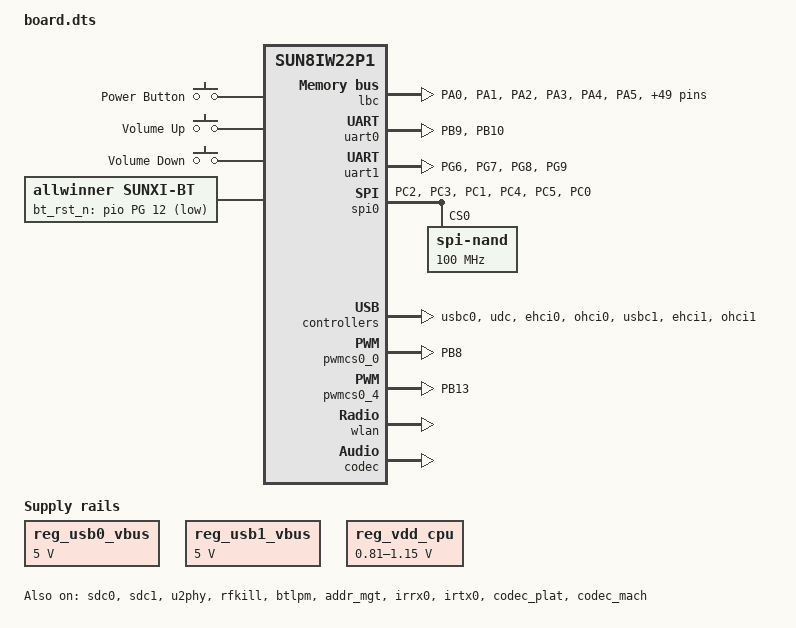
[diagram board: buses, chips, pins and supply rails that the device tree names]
// SPDX-License-Identifier: (GPL-2.0+ or MIT)

/dts-v1/;

#include "sun8iw22p1.dtsi"
#include <dt-bindings/input/input.h>

/{
	board = "t153", "t153-demo";
	compatible = "allwinner,t153", "arm,sun8iw22p1";
	aliases {
	};

	reg_usb0_vbus: usb0-vbus {
		compatible = "regulator-fixed";
		regulator-name = "usb0-vbus";
		regulator-min-microvolt = <5000000>;
		regulator-max-microvolt = <5000000>;
		regulator-enable-ramp-delay = <1000>;
		enable-active-high;
	};

	reg_usb1_vbus: usb1-vbus {
		compatible = "regulator-fixed";
		regulator-name = "usb1-vbus";
		regulator-min-microvolt = <5000000>;
		regulator-max-microvolt = <5000000>;
		regulator-enable-ramp-delay = <1000>;
		enable-active-high;
	};

	reg_vdd_cpu: reg_vdd_cpu {
		compatible = "sunxi-pwm-regulator";
		pwms = <&pwmcs0 4 5000 1>;
		regulator-name = "vdd_cpu";
		regulator-min-microvolt = <810000>;
		regulator-max-microvolt = <1150000>;
		regulator-settling-time-us = <4000>;
		regulator-always-on;
		regulator-boot-on;
		status = "okay";
	};

	reserved-memory {
		rv_sram_reserved: riscvsram0@40000 {
			reg = <0x0 0x00040000 0x0 0x0002BFFF>;
			no-map;
			sleep-data-loss;
		};

		e907_mem_fw: e907_mem_fw@44000000 {
			/* boot0 & uboot0 load elf addr */
			reg = <0x0 0x44000000 0x0 0x00200000>;
		};

		/*
			* The name should be "vdev%dbuffer".
			* Its size should be not less than
			*     RPMSG_BUF_SIZE * (num of buffers in a vring) * 2
			*   = 512 * (num of buffers in a vring) * 2
			*/
		rv_vdev0buffer: vdev0buffer@42100000 {
			compatible = "shared-dma-pool";
			reg = <0x0 0x42100000 0x0 0x40000>;
			no-map;
		};

		/*
			* The name should be "vdev%dvring%d".
			* The size of each should be not less than
			*     PAGE_ALIGN(vring_size(num, align))
			*   = PAGE_ALIGN(16 * num + 6 + 2 * num + (pads for align) + 6 + 8 * num)
			*
			* (Please refer to the vring layout in include/uapi/linux/virtio_ring.h)
			*/
		rv_vdev0vring0: vdev0vring0@42140000 {
			reg = <0x0 0x42140000 0x0 0x2000>;
			no-map;
		};
		rv_vdev0vring1: vdev0vring1@42142000 {
			reg = <0x0 0x42142000 0x0 0x2000>;
			no-map;
		};

		e907_rpbuf_reserved: e907_rpbuf@42144000 {
			compatible = "shared-dma-pool";
			no-map;
			reg = <0x0 0x42144000 0x0 0x80000>;
		};

		e907_share_irq_table: share_irq_table@421c4000 {
			reg = <0x0 0x421c4000 0x0 0x1000>;
			no-map;
		};

		e907_dram_reserved: e907_dram@421c5000 {
			reg = <0x0 0x421c5000 0x0 0x00300000>;
			no-map;
		};
	};

	rpbuf_controller0: rpbuf_controller@0 {
			compatible = "allwinner,rpbuf-controller";
			remoteproc = <&e907_rproc>;
			ctrl_id = <0>;
			memory-region = <&e907_rpbuf_reserved>;
			status = "okay";
	};

	backlight0: backlight0 {
		compatible = "pwm-backlight";
		status = "disabled";
		brightness-levels = <
			0   1   2   3   4   5   6   7
			8   9   10  11  12  13  14  15
			16  17  18  19  20  21  22  23
			24  25  26  27  28  29  30  31
			32  33  34  35  36  37  38  39
			40  41  42  43  44  45  46  47
			48  49  50  51  52  53  54  55
			56  57  58  59  60  61  62  63
			64  65  66  67  68  69  70  71
			72  73  74  75  76  77  78  79
			80  81  82  83  84  85  86  87
			88  89  90  91  92  93  94  95
			96  97  98  99  100 101 102 103
			104 105 106 107 108 109 110 111
			112 113 114 115 116 117 118 119
			120 121 122 123 124 125 126 127
			128 129 130 131 132 133 134 135
			136 137 138 139 140 141 142 143
			144 145 146 147 148 149 150 151
			152 153 154 155 156 157 158 159
			160 161 162 163 164 165 166 167
			168 169 170 171 172 173 174 175
			176 177 178 179 180 181 182 183
			184 185 186 187 188 189 190 191
			192 193 194 195 196 197 198 199
			200 201 202 203 204 205 206 207
			208 209 210 211 212 213 214 215
			216 217 218 219 220 221 222 223
			224 225 226 227 228 229 230 231
			232 233 234 235 236 237 238 239
			240 241 242 243 244 245 246 247
			248 249 250 251 252 253 254 255>;
		default-brightness-level = <150>;
		enable-gpios = <&pio PB 14 GPIO_ACTIVE_HIGH>;
		pwms = <&pwmcs0 0 25000 0>;
	};

	lvds_panel: lvds_panel@0 {
		compatible = "sunxi-lvds";
		status = "disabled";
		backlight = <&backlight0>;
		bus-format = <MEDIA_BUS_FMT_RGB888_1X7X4_SPWG>;
		display-timings {
			native-mode = <&lvds0_timing0>;
			lvds0_timing0: timing0 {
				clock-frequency = <51448320>;
				hback-porch = <100>;
				hactive = <1024>;
				hfront-porch = <160>;
				hsync-len = <60>;
				vback-porch = <13>;
				vactive = <600>;
				vfront-porch = <15>;
				vsync-len = <10>;
			};
		};
		port {
			lvds_panel_in: endpoint {
				remote-endpoint = <&lvds_panel_out>;
			};
		};
	};

	panel_0: panel_0@0 {
		compatible = "allwinner,panel-dsi";
		status = "disabled";
		enable-delay-ms = <10>;
		reset-gpios = <&pio PD 21 GPIO_ACTIVE_HIGH>;
		reset-on-sequence = <1 10>, <0 20>, <1 100>;
		reset-off-sequence = <0 100>;
		backlight = <&backlight0>;
		dsi,flags = <(MIPI_DSI_MODE_VIDEO | MIPI_DSI_ASYNC_INCELL)>;
		dsi,lanes = <4>;
		dsi,format = <0>;
		panel-init-sequence = [
			05 78 01 11
			05 14 01 29
		];
		panel-exit-sequence = [
			05 00 01 28
			05 78 01 10
		];

		display-timings {
			native-mode = <&timing0>;
			timing0: timing0 {
				clock-frequency = <156408000>;
				hback-porch = <40>;
				hactive = <1200>;
				hfront-porch = <80>;
				hsync-len = <10>;
				vback-porch = <16>;
				vactive = <1920>;
				vfront-porch = <20>;
				vsync-len = <4>;
			};
		};
		port {
			#address-cells = <1>;
			#size-cells = <0>;
			panel0_in: endpoint@0 {
				reg = <0>;
				remote-endpoint = <&panel_output_0>;
			};
		};
	};

	rgb_panel0: rgb_panel@1 {
		compatible = "sunxi-rgb";
		status = "disabled";
		reg = <0>;
		backlight = <&backlight0>;
		display-timings {
			native-mode = <&rgb0_timing0>;
			rgb0_timing0: timing0 {
				clock-frequency = <29232000>;
				hback-porch = <40>;
				hactive = <800>;
				hfront-porch = <40>;
				hsync-len = <48>;
				vback-porch = <29>;
				vactive = <480>;
				vfront-porch = <13>;
				vsync-len = <3>;
			};
		};
		port {
			rgb0_panel_in: endpoint {
				remote-endpoint = <&rgb0_panel_out>;
			};
		};
	};

	can0 {
		compatible = "allwinner,sun8i-t153-can";
		reg = <0x0 0x0453C800 0x0 0x400>,
			<0x0 0x04538000 0x0 0x4400>,
			<0x0 0x04530000 0x0 0x1000>,
			<0x0 0x04534000 0x0 0x1000>;
		reg-names = "can", "message_ram", "can_top", "can_dma";
		interrupts = <GIC_SPI 36 IRQ_TYPE_LEVEL_HIGH>, <GIC_SPI 35 IRQ_TYPE_LEVEL_HIGH>, <GIC_SPI 37 IRQ_TYPE_LEVEL_HIGH>;
		interrupt-names = "int0", "int_top", "int1";
		clocks = <&ccu CLK_CAN0>, <&ccu CLK_BUS_CAN0>, <&ccu CLK_MBUS_CAN_GATE>;
		clock-names = "can_clk", "can_bus", "can_mbus";
		resets = <&ccu RST_BUS_CAN0>, <&ccu RST_BUS_CAN_SYS>;
		reset-names = "can_rst", "can_sys_rst";
		clock-frequency = <40000000>;
		allwinner,ram-cfg = <0x0 0 0 64 64 64 32 32>;
		pinctrl-0 = <&can0_pins_active>;
		pinctrl-1 = <&can0_pins_sleep>;
		pinctrl-names = "default", "sleep";
		status = "disabled";
	};

	can1 {
		compatible = "allwinner,sun8i-t153-can";
		reg = <0x0 0x04541800 0x0 0x400>,
				<0x0 0x0453D000 0x0 0x4400>,
				<0x0 0x04531000 0x0 0x1000>,
				<0x0 0x04535000 0x0 0x1000>;
		reg-names = "can", "message_ram", "can_top", "can_dma";
		interrupts = <GIC_SPI 144 IRQ_TYPE_LEVEL_HIGH>, <GIC_SPI 146 IRQ_TYPE_LEVEL_HIGH>, <GIC_SPI 145 IRQ_TYPE_LEVEL_HIGH>;
		interrupt-names = "int0", "int_top", "int1";
		clocks = <&ccu CLK_CAN1>, <&ccu CLK_BUS_CAN1>, <&ccu CLK_MBUS_CAN_GATE>;
		clock-names = "can_clk", "can_bus", "can_mbus";
		resets = <&ccu RST_BUS_CAN1>, <&ccu RST_BUS_CAN_SYS>;
		reset-names = "can_rst", "can_sys_rst";
		clock-frequency = <40000000>;
		allwinner,ram-cfg = <0x0 0 0 64 64 64 32 32>;
		pinctrl-0 = <&can1_pins_active>;
		pinctrl-1 = <&can1_pins_sleep>;
		pinctrl-names = "default", "sleep";
		status = "disabled";
	};

	// lbc1
	lbc_timing0: timing-set@0 {
		reg = <0>;
		lbc,timing-flag = <0>;	// 0: need to calc, 1: raw(need to set final time val)

		lbc,cle-cycle-num = <1>;
		lbc,ale-cycle-num = <1>;
		lbc,dat-cycle-num = <1>;

		lbc,addr-mux-type = <2>;	// 00: non mux, 01: ad mux, 10: aad mux
		lbc,lbc-protocol  = <1>;	// 00: lbc mode0, 01: lbc mode1, 10: lbc mode2
		lbc,bus-endian	  = <1>;		// 0: big endian, 1: little endian
		lbc,transfer-width = <1>; // 00: 8bit, 01: 16bit, 10: 32bite
		lbc,bus-addr-offset = <0>;	// 0: disable; 1: enable
		lbc,rd-sync-type = <1>;		// 0: async>; 1 sync
		lbc,wr-sync-type = <1>;		// 0: async>; 1 sync

		lbc,clk-divider = <0>;	// 00: fclk/1, 01: fclk/2, 10: fclk/4, 11: fclk/8
		lbc,clk-delay-time = <0>;

		lbc,ready-timeout-time = <0xc1>;
		lbc,rd-ready-en = <1>;
		lbc,wr-ready-en = <0>;
		lbc,ready-delay-time = <0>;
		lbc,rd-ready-mode = <1>;
		lbc,wr-ready-mode = <0>;
		lbc,ready-polarity = <1>;

		lbc,dp-mode = <0>;	// 0: DP per byte, 1: one DP only
		lbc,dp-parity = <1>;	// 0: odd parity, 1: even parity
		lbc,dp-en = <1>;		// 0: disable, 1: enable

		lbc,be-parity-en = <0>;
		lbc,de-polarity = <1>;
		lbc,be-polarity = <1>;

		lbc,wait-timeout-time = <0x400>;
		lbc,wait-polarity = <1>;
		lbc,wait-en = <0>;

		lbc,cs-polarity = <0>;
		lbc,ale-polarity = <1>;
		lbc,we-polarity = <1>;
		lbc,oe-polarity = <0>;
		lbc,cle-mode = <1>;
		lbc,cle-polarity = <1>;
	};

	// lbc2 (ad7616)
	lbc_timing1: timing-set@1 {
		reg = <1>;
		lbc,timing-flag = <1>;	// 0: need to calc, 1: raw(need to set final time val)

		lbc,cle-cycle-num = <1>;
		lbc,ale-cycle-num = <1>;
		lbc,dat-cycle-num = <1>;

		lbc,addr-mux-type = <0>;	// 00: non mux, 01: ad mux, 10: aad mux
		lbc,lbc-protocol  = <2>;	// 00: lbc mode0, 01: lbc mode1, 10: lbc mode2
		lbc,bus-endian	  = <1>;		// 0: big endian, 1: little endian
		lbc,transfer-width = <1>; // 00: 8bit, 01: 16bit, 10: 32bite
		lbc,bus-addr-offset = <0>;	// 0: disable; 1: enable
		lbc,rd-sync-type = <0>;		// 0: async>; 1 sync
		lbc,wr-sync-type = <0>;		// 0: async>; 1 sync

		lbc,clk-divider = <0>;	// 00: fclk/1, 01: fclk/2, 10: fclk/4, 11: fclk/8
		lbc,clk-delay-time = <0>;

		lbc,ready-timeout-time = <0xc1>;
		lbc,rd-ready-en = <0>;
		lbc,wr-ready-en = <0>;
		lbc,ready-delay-time = <0>;
		lbc,rd-ready-mode = <1>;
		lbc,wr-ready-mode = <0>;
		lbc,ready-polarity = <1>;

		lbc,dp-mode = <0>;	// 0: DP per byte, 1: one DP only
		lbc,dp-parity = <1>;	// 0: odd parity, 1: even parity
		lbc,dp-en = <1>;		// 0: disable, 1: enable

		lbc,be-parity-en = <0>;
		lbc,de-polarity = <1>;
		lbc,be-polarity = <1>;

		lbc,wait-timeout-time = <0x400>;
		lbc,wait-polarity = <1>;
		lbc,wait-en = <0>;

		lbc,cs-polarity = <0>;
		lbc,ale-polarity = <1>;

		lbc,we-page-en = <1>;
		lbc,we-polarity = <0>;

		lbc,oe-page-en = <1>;
		lbc,oe-polarity = <0>;
		lbc,cle-mode = <1>;
		lbc,cle-polarity = <1>;

		// raw timing with ns
		lbc,cs-on-time-ns = <0>;
		lbc,cs-rdoff-time-ns = <110>;
		lbc,cs-wroff-time-ns = <110>;

		lbc,ale-on-time-ns = <0>;
		lbc,ale-rdoff-time-ns = <110>;
		lbc,ale-wroff-time-ns = <110>;

		lbc,ale-aad-rdoff-time-ns = <0>;
		lbc,ale-aad-wroff-time-ns = <0>;
		lbc,ale-aad-on-time-ns = <0>;

		lbc,we-on-time-ns = <65>;
		lbc,we-off-time-ns = <95>;
		lbc,we-page-time-ns = <95>;

		lbc,oe-off-time-ns = <95>;
		lbc,oe-on-time-ns = <65>;
		lbc,oe-page-time-ns = <95>;

		lbc,oe-aad-off-time-ns = <0>;
		lbc,oe-aad-on-time-ns = <0>;

		lbc,rd-cycle-time-ns = <110>;
		lbc,wr-cycle-time-ns = <110>;

		lbc,rd-access-time-ns = <95>;
		lbc,wr-access-time-ns = <0>;

		lbc,page-access-time-ns = <0>;
		lbc,wr-data-on-time-ns = <65>;
		lbc,cle-off-time-ns = <0>;
		lbc,cle-on-time-ns = <0>;

		lbc,turnaround-time = <0x20>;
	};


	lbc: lbc-controller@2810000 {
		compatible = "allwinner,sunxi-lbc";
		interrupts = <GIC_SPI 48 IRQ_TYPE_LEVEL_HIGH>;
		clocks = <&ccu CLK_PLL_PERI0_400M>, <&ccu CLK_MBUS_BUS_LBC_SW_CFG>, <&ccu CLK_BUS_LBC_AHB>, <&ccu CLK_LBC>;
		clock-names = "lbc_pll", "lbc_mbus_sw_cfg", "bus_lbc", "lbc";
		resets = <&ccu RST_BUS_LBC>;
		reset-names = "lbc_rst";

		pinctrl-names = "default", "sleep";
		//pinctrl-0 = <&lbc_pins_active0 &lbc_pins_active1>;
		pinctrl-0 = <&lbc_pins_a>;
		pinctrl-1 = <&lbc_pins_b>;

		//lbc-io-supply = <&reg_bldo3>;
		//lbc-io-vol = <1800000>;


		ranges;
		lbc_slave {
			#address-cells = <2>;
			#size-cells = <2>;

			status = "disabled";
			slave-reset-gpio = <&pio PK 8 GPIO_ACTIVE_LOW>;

			clock-frequency = <100000000>;
			reg = <0x0 0x02810000 0x0 0x1000>,
				 // cs0
				<0x0 0xc0004000 0x0 0x80>,
				<0x0 0xc0004000 0x0 0x80>,
				<0x0 0xc0004000 0x0 0x80>,
				 // cs1
				<0x0 0xd0004000 0x0 0x80>,
				<0x0 0xd0004000 0x0 0x80>,
				<0x0 0xd0004000 0x0 0x80>,
				 // cs2
				<0x0 0xe0004000 0x0 0x80>,
				<0x0 0xe0004000 0x0 0x80>,
				<0x0 0xe0004000 0x0 0x80>,
				 // cs3
				<0x0 0xf0004000 0x0 0x80>,
				<0x0 0xf0004000 0x0 0x80>,
				<0x0 0xf0004000 0x0 0x80>;
			reg-names = "reg_addr",
						"cs0_da_wr_addr", "cs0_ida_wr_addr", "cs0_dma_wr_addr",
						"cs1_da_wr_addr", "cs1_ida_wr_addr", "cs1_dma_wr_addr",
						"cs2_da_wr_addr", "cs2_ida_wr_addr", "cs2_dma_wr_addr",
						"cs3_da_wr_addr", "cs3_ida_wr_addr", "cs3_dma_wr_addr";

			sunxi,cs-timing = <&lbc_timing0 &lbc_timing0 &lbc_timing0 &lbc_timing0>;

			da_cfg {
				lbc,da_burst_sel = <0 0 0 0>;
				lbc,da_burst_type = <1 1 1 1>;
				lbc,da_burst_length = <0 0 0 0>;
			};

			ida_cfg {
				lbc,ida_burst_arb_grain = <3>;
				lbc,ida_burst_type = <1>;
				lbc,ida_burst_length = <0>;
			};

			dma_cfg {
				lbc,dma_burst_arb_grain = <2>;
				lbc,dma_burst_type = <1>;
				lbc,dma_burst_length = <63>;
			};
		};

		ad7616_slave {
			#address-cells = <2>;
			#size-cells = <2>;

			status = "disabled";
			slave-reset-gpio = <&pio PK 8 GPIO_ACTIVE_LOW>;
			convst-gpio = <&pio PA 3 GPIO_ACTIVE_LOW>;

			clock-frequency = <200000000>;
			reg = <0x0 0x02810000 0x0 0x1000>,
				 // cs0
				<0x0 0xc0000000 0x0 0xa0>,
				<0x0 0xc0000000 0x0 0xa0>,
				<0x0 0xc0000000 0x0 0xa0>,
				 // cs1
				<0x0 0xd0000000 0x0 0xa0>,
				<0x0 0xd0000000 0x0 0xa0>,
				<0x0 0xd0000000 0x0 0xa0>,
				 // cs2
				<0x0 0xe0000000 0x0 0xa0>,
				<0x0 0xe0000000 0x0 0xa0>,
				<0x0 0xe0000000 0x0 0xa0>,
				 // cs3
				<0x0 0xf0000000 0x0 0xa0>,
				<0x0 0xf0000000 0x0 0xa0>,
				<0x0 0xf0000000 0x0 0xa0>;
			reg-names = "reg_addr",
						"cs0_da_wr_addr", "cs0_ida_wr_addr", "cs0_dma_wr_addr",
						"cs1_da_wr_addr", "cs1_ida_wr_addr", "cs1_dma_wr_addr",
						"cs2_da_wr_addr", "cs2_ida_wr_addr", "cs2_dma_wr_addr",
						"cs3_da_wr_addr", "cs3_ida_wr_addr", "cs3_dma_wr_addr";

			sunxi,cs-timing = <&lbc_timing1 &lbc_timing1 &lbc_timing1 &lbc_timing1>;

			da_cfg {
				lbc,da_burst_sel = <0 0 0 0>;
				lbc,da_burst_type = <1 1 1 1>;
				lbc,da_burst_length = <0 0 0 0>;
			};

			dma_cfg {
				lbc,dma_burst_arb_grain = <2>;
				lbc,dma_burst_type = <1>;
				lbc,dma_burst_length = <0>;
			};
		};
	};
};

&pio {
	uart0_pins_active: uart0_pins@0 {
		pins = "PB9", "PB10";
		function = "uart0";
	};

	uart0_pins_sleep: uart0_pins@1 {
		pins = "PB9", "PB10";
		function = "io_disabled";
	};

	uart1_pins_active: uart1_pins@0 {
		pins = "PG6", "PG7", "PG8", "PG9";
		function = "uart1";
		drive-strength = <10>;
		bias-pull-up;
	};

	uart1_pins_sleep: uart1_pins@1 {
		pins = "PG6", "PG7", "PG8", "PG9";
		function = "gpio_in";
	};

	uart2_pins_active: uart2_pins@0 {
		pins = "PD2", "PD3", "PD1", "PD0";
		function = "uart2";
	};

	uart2_pins_sleep: uart2_pins@1 {
		pins = "PD2", "PD3", "PD1", "PD0";
		function = "io_disabled";
	};

	uart3_pins_active: uart3_pins@0 {
		pins = "PD14", "PD15", "PD16", "PD17";
		function = "uart3";
	};

	uart3_pins_sleep: uart3_pins@1 {
		pins = "PD14", "PD15", "PD16", "PD17";
		function = "io_disabled";
	};

	uart4_pins_active: uart4_pins@0 {
		pins = "PD6", "PD7", "PD5", "PD4";
		function = "uart4";
	};

	uart4_pins_sleep: uart4_pins@1 {
		pins = "PD6", "PD7", "PD5", "PD4";
		function = "io_disabled";
	};

	uart5_pins_active: uart5_pins@0 {
		pins = "PC9", "PC10", "PC11", "PC8";
		function = "uart5";
	};

	uart5_pins_sleep: uart5_pins@1 {
		pins = "PC9", "PC10", "PC11", "PC8";
		function = "io_disabled";
	};

	uart6_pins_active: uart6_pins@0 {
		pins = "PA14", "PA15", "PE5", "PE6";
		function = "uart6";
	};

	uart6_pins_sleep: uart6_pins@1 {
		pins = "PA14", "PA15", "PE5", "PE6";
		function = "io_disabled";
	};

	uart7_pins_active: uart7_pins@0 {
		pins = "PB13", "PB14", "PB11", "PB12";
		function = "uart7";
	};

	uart7_pins_sleep: uart7_pins@1 {
		pins = "PB13", "PB14", "PB11", "PB12";
		function = "io_disabled";
	};

	uart8_pins_active: uart8_pins@0 {
		pins = "PD10", "PD11", "PD12", "PD13";
		function = "uart8";
	};

	uart8_pins_sleep: uart8_pins@1 {
		pins = "PD10", "PD11", "PD12", "PD13";
		function = "io_disabled";
	};

	uart9_pins_active: uart9_pins@0 {
		pins = "PD0", "PD1", "PD2", "PD3";
		function = "uart9";
	};

	uart9_pins_sleep: uart9_pins@1 {
		pins = "PD0", "PD1", "PD2", "PD3";
		function = "io_disabled";
	};

	can0_pins_active: can0_pins@0{
		pins = "PC6", "PC7";
		function = "can0";
		drive-strength = <20>;
	};

	can0_pins_sleep: can0_pins@1{
		pins = "PC6", "PC7";
		function = "io_disabled";
		bias-disable;
	};

	can1_pins_active: can1_pins@0{
		pins = "PB7", "PB8";
		function = "can1";
		drive-strength = <20>;
	};

	can1_pins_sleep: can1_pins@1{
		pins = "PB7", "PB8";
		function = "io_disabled";
		bias-disable;
	};

	spi0_pins_default: spi0@0 {
		pins = "PC2", "PC3"; /* mosi, miso */
		function = "spi0";
		drive-strength = <20>;
	};

	spi0_pins_cs: spi0@1 {
		pins = "PC1", "PC4", "PC5"; /* cs, wp, hold */
		function = "spi0";
		drive-strength = <20>;
		bias-pull-up;
	};

	spi0_pins_clk: spi0@2 {
		pins = "PC0"; /* clk */
		function = "spi0";
		drive-strength = <40>;
	};

	spi0_pins_sleep: spi0@3 {
		pins = "PC0", "PC1", "PC2", "PC3", "PC4", "PC5";
		function = "gpio_in";
		drive-strength = <10>;
	};

	spi3_pins_default: spi3@0 {
		pins = "PB1", "PB2", "PB3"; /* clk, mosi, miso */
		function = "spi3";
		drive-strength = <10>;
	};

	spi3_pins_cs: spi3@1 {
		pins = "PB0"; /* cs, wp, hold */
		function = "spi3";
		drive-strength = <10>;
		bias-pull-up;
	};

	spi3_pins_sleep: spi3@2 {
		pins = "PB0", "PB1", "PB2", "PB3";
		function = "gpio_in";
		drive-strength = <10>;
	};

	twi2_pins_default: twi2@0 {
		pins = "PB2", "PB3";
		function = "twi2";
		drive-strength = <10>;
		bias-pull-up;
	};

	twi2_pins_sleep: twi2@1 {
		pins = "PB2", "PB3";
		function = "gpio_in";
	};

	twi4_pins_default: twi4@0 {
		pins = "PB13", "PB14";
		function = "twi4";
		drive-strength = <10>;
		bias-pull-up;
	};

	twi4_pins_sleep: twi4@1 {
		pins = "PB13", "PB14";
		function = "gpio_in";
	};

	pwmcs0_0_pins_active: pwmcs0_0@0 {
		pins = "PB8";
		function = "pwm0_0";
		drive-strength = <20>;
	};

	pwmcs0_0_pins_sleep: pwmcs0_0@1 {
		pins = "PB8";
		function = "gpio_in";
		bias-pull-down;
	};

	pwmcs0_4_pins_active: pwmcs0_4@0 {
		pins = "PB13";
		function = "pwm0_4";
		drive-strength = <20>;
	};

	pwmcs0_4_pins_sleep: pwmcs0_4@1 {
		pins = "PB13";
		function = "gpio_in";
		bias-pull-down;
	};

	gpadc0_pins_default: gpadc0@0 {
		pins = "PA4", "PA5", "PA6", "PA7", "PA8", "PA9", "PA10", "PA11", "PA12", "PA13";
		function = "gpadc0";
	};

	gpadc0_pins_sleep: gpadc0@1 {
		pins = "PA4", "PA5", "PA6", "PA7", "PA8", "PA9", "PA10", "PA11", "PA12", "PA13";
		function = "gpio_in";
	};

	gpadc1_pins_default: gpadc1@0 {
		pins = "PA14","PA15";
		function = "gpadc1";
	};

	gpadc1_pins_sleep: gpadc1@1 {
		pins = "PA14", "PA15";
		function = "gpio_in";
	};

	irrx0_pins_default: irrx0@0 {
		pins = "PJ12";
		function = "ir0";
	};

	irrx0_pins_sleep: irrx0@1 {
		pins = "PJ12";
		function = "gpio_in";
	};

	irrx1_pins_default: irrx1@0 {
		pins = "PJ13";
		function = "ir1";
	};

	irrx1_pins_sleep: irrx1@1 {
		pins = "PJ13";
		function = "gpio_in";
	};

	irrx2_pins_default: irrx2@0 {
		pins = "PJ14";
		function = "ir2";
	};

	irrx2_pins_sleep: irrx2@1 {
		pins = "PJ14";
		function = "gpio_in";
	};

	irrx3_pins_default: irrx3@0 {
		pins = "PJ15";
		function = "ir3";
	};

	irrx3_pins_sleep: irrx3@1 {
		pins = "PJ15";
		function = "gpio_in";
	};

	irtx0_pins_default: irtx@0 {
		pins = "PJ9";
		function = "ir";
	};

	irtx0_pins_sleep: irtx@1 {
		pins = "PJ9";
		function = "gpio_in";
	};

	dmic_pins_a: dmic@0 {
		/* DMIC_PIN: CLK, DATA0, DATA1, DATA2 */
		pins = "PF2", "PF3", "PF4", "PF5";
		function = "dmic";
		drive-strength = <10>;
		bias-disable;
	};

	dmic_pins_b: dmic@1 {
		pins = "PF2", "PF3", "PF4", "PF5";
		function = "io_disabled";
		drive-strength = <10>;
		bias-disable;
	};

	ledc_pins_default: ledc@0 {
		pins = "PJ8";
		function = "ledc";
		drive-strength = <20>;
	};

	ledc_pins_sleep: ledc@1 {
		pins = "PJ8";
		function = "gpio_in";
	};

	gmac0_pins_default: gmac0@0 {
		pins = "PJ0", "PJ1", "PJ2", "PJ3", "PJ4", "PJ5", "PJ6", "PJ7",
			"PJ8", "PJ9", "PJ10", "PJ11", "PJ12", "PJ13", "PJ14", "PJ15";
		function = "rgmii0";
		drive-strength = <40>;
		bias-pull-up;
	};

	gmac0_pins_sleep: gmac0@1 {
		pins = "PJ0", "PJ1", "PJ2", "PJ3", "PJ4", "PJ5", "PJ6", "PJ7",
			"PJ8", "PJ9", "PJ10", "PJ11", "PJ12", "PJ13", "PJ14", "PJ15";
		function = "io_disabled";
		bias-disable;
	};

	gmac1_pins_default: gmac1@0 {
		pins = "PG0", "PG1", "PG2", "PG3", "PG4", "PG5", "PG6", "PG7",
			"PG8", "PG9", "PG10", "PG11", "PG12", "PG13", "PG14", "PG15";
		function = "rgmii1";
		drive-strength = <40>;
		bias-pull-up;
	};

	gmac1_pins_sleep: gmac1@1 {
		pins = "PG0", "PG1", "PG2", "PG3", "PG4", "PG5", "PG6", "PG7",
			"PG8", "PG9", "PG10", "PG11", "PG12", "PG13", "PG14", "PG15";
		function = "io_disabled";
		bias-disable;
	};

	rtp_pins_default: rtp@0 {
		pins = "PA0", "PA1", "PA2", "PA3";
		function = "tp";
	};

	rtp_pins_sleep: rtp@1 {
		pins = "PA0", "PA1", "PA2", "PA3";
		function = "gpio_in";
	};

	spi2_pins_default: spi2@0 {
		pins = "PE2", "PE3", "PE4";
		function = "spi2";
		drive-strength = <10>;
	};

	spi2_pins_cs: spi2@1 {
		pins = "PE7";
		function = "spi2";
		drive-strength = <10>;
		bias-pull-up;
	};

	spi2_pins_sleep: spi2@2 {
		pins = "PE2", "PE3", "PE4", "PE7";
		function = "io_disabled";
		bias-disable;
	};

	lbc_pins_a: lbc_pins_a@0 {
		pins = "PA0",  "PA1",  "PA2",  "PA3",  "PA4",
			   "PA5",  "PA6",  "PA7",  "PA8",  "PA9",
			   "PA10", "PA11", "PA12", "PA13", "PA14",
			   "PA15", "PA16", "PA17", "PA18", "PA19",
			   "PA20", "PA21", "PA22", "PA23",
			   "PD0",  "PD1",  "PD2",  "PD3",  "PD4",
			   "PD5",  "PD6",  "PD7",  "PD8",  "PD9",
			   "PD10", "PD11", "PD12", "PD13", "PD14",
			   "PD15", "PD16", "PD17", "PD18", "PD19",
			   "PD20", "PD21", "PD22", "PD23",
			   "PK0",  "PK1",  "PK2",  "PK3",  "PK4",
			   "PK5",  "PK10";
		function = "lbus";
		drive-strength = <40>;
	};

	lbc_pins_b: lbc_pins_b@0 {
		pins = "PA0",  "PA1",  "PA2",  "PA3",  "PA4",
			   "PA5",  "PA6",  "PA7",  "PA8",  "PA9",
			   "PA10", "PA11", "PA12", "PA13", "PA14",
			   "PA15", "PA16", "PA17", "PA18", "PA19",
			   "PA20", "PA21", "PA22", "PA23",
			   "PD0",  "PD1",  "PD2",  "PD3",  "PD4",
			   "PD5",  "PD6",  "PD7",  "PD8",  "PD9",
			   "PD10", "PD11", "PD12", "PD13", "PD14",
			   "PD15", "PD16", "PD17", "PD18", "PD19",
			   "PD20", "PD21", "PD22", "PD23",
			   "PK0",  "PK1",  "PK2",  "PK3",  "PK4",
			   "PK5",  "PK10";
		function = "io_disabled";
		bias-disable;
	};
};

&lvds0 {
	status = "disabled";
	dual-channel = <0>;
	ports {
		#address-cells = <1>;
		#size-cells = <0>;
		port@1 {
			#address-cells = <1>;
			#size-cells = <0>;
			reg = <1>;
			lvds_panel_out: endpoint@0 {
				#address-cells = <1>;
				#size-cells = <0>;
				reg = <0>;
				remote-endpoint = <&lvds_panel_in>;
			};
			lvds_panel_out1: endpoint@1 {
			};
		};
	};
};

&dsi0 {
	status = "disabled";
	#address-cells = <1>;
	#size-cells = <0>;
	ports {
		dsi0_out: port@1{
			dsi_out_panel: endpoint {
				remote-endpoint = <&panel_input>;
			};
		};
	};
	panel: panel@0 {
		compatible = "allwinner,virtual-panel";
		status = "disabled";
		reg = <0>;
		ports {
			#address-cells = <1>;
			#size-cells = <0>;
			panel_in: port@0 {
				#address-cells = <1>;
				#size-cells = <0>;
				reg = <0>;
				panel_input: endpoint@0 {
					reg = <0>;
					remote-endpoint = <&dsi_out_panel>;
				};
				panel_input1: endpoint@1 {
				};
			};
			panel_out: port@1 {
				reg = <1>;
				#address-cells = <1>;
				#size-cells = <0>;
				panel_output_0: endpoint@0 {
					reg = <0>;
					remote-endpoint = <&panel0_in>;
				};
				panel_output_1: endpoint@1 {
				};
			};
		};
	};
};

&rgb0 {
	status = "disabled";
	pinctrl-0 = <&rgb0_24pins_a>;
	pinctrl-1 = <&rgb0_24pins_b>;
	pinctrl-names = "active","sleep";
	ports {
		port@1 {
			#address-cells = <1>;
			#size-cells = <0>;
			reg = <1>;
			rgb0_panel_out: endpoint@0 {
				reg = <0>;
				remote-endpoint = <&rgb0_panel_in>;
			};
			rgb1_panel_out: endpoint@1 {
			};
		};
	};
};

&vo0 {
	status = "disabled";
};

&dlcd0 {
	status = "disabled";
};

&de {
	chn_cfg_mode = <0>;
	status = "disabled";
};

&dsi0combophy {
	status = "disabled";
};

&uart0 {
	pinctrl-names = "default", "sleep";
	pinctrl-0 = <&uart0_pins_active>;
	pinctrl-1 = <&uart0_pins_sleep>;
	irq-priority-for-rt = <98>;
	status = "okay";
};

&uart1 {
	pinctrl-names = "default", "sleep";
	pinctrl-0 = <&uart1_pins_active>;
	pinctrl-1 = <&uart1_pins_sleep>;
	status = "okay";
};

&uart2 {
	pinctrl-names = "default", "sleep";
	pinctrl-0 = <&uart2_pins_active>;
	pinctrl-1 = <&uart2_pins_sleep>;
	status = "disabled";
};

&uart3 {
	pinctrl-names = "default", "sleep";
	pinctrl-0 = <&uart3_pins_active>;
	pinctrl-1 = <&uart3_pins_sleep>;
	status = "disabled";
};

&uart4 {
	pinctrl-names = "default", "sleep";
	pinctrl-0 = <&uart4_pins_active>;
	pinctrl-1 = <&uart4_pins_sleep>;
	status = "disabled";
};

&uart5 {
	pinctrl-names = "default", "sleep";
	pinctrl-0 = <&uart5_pins_active>;
	pinctrl-1 = <&uart5_pins_sleep>;
	status = "disabled";
};

&uart6 {
	pinctrl-names = "default", "sleep";
	pinctrl-0 = <&uart6_pins_active>;
	pinctrl-1 = <&uart6_pins_sleep>;
	status = "disabled";
};

&uart7 {
	pinctrl-names = "default", "sleep";
	pinctrl-0 = <&uart7_pins_active>;
	pinctrl-1 = <&uart7_pins_sleep>;
	status = "disabled";
};

&uart8 {
	pinctrl-names = "default", "sleep";
	pinctrl-0 = <&uart8_pins_active>;
	pinctrl-1 = <&uart8_pins_sleep>;
	status = "disabled";
};

&uart9 {
	pinctrl-names = "default", "sleep";
	pinctrl-0 = <&uart9_pins_active>;
	pinctrl-1 = <&uart9_pins_sleep>;
	status = "disabled";
};

&soc {
	e907_rproc: e907_rproc@1a00000 {
		mboxes = <&msgbox 0>, <&msgbox 2>;
		mbox-names = "arm-kick", "arm-standby";
		memory-region = <&rv_vdev0buffer>, <&rv_vdev0vring0>, <&rv_vdev0vring1>, <&e907_dram_reserved>;
		fw-region = <&e907_mem_fw>;
		fw-partitions = "riscv0", "riscv0-r";
		fw-partition-sectors = <2048>;
		memory-mappings =
			/* < DA      len        PA >	*/
			/* SRAM A2 */
			< 0x40000    0x2BFFF    0x40000 >,
			/* SHARED SRAM */
			< 0x1000000  0x7ffff    0x1000000 >,
			/* DRAM SPACE1 */
			< 0x40000000 0x3f000000 0x40000000>,
			/* DRAM SPACE2 */
			< 0x80000000 0x3f000000 0x80000000>,
			/* DRAM SPACE3 */
			< 0xC0000000 0x3f000000 0xC0000000>;
		standby-ctrl-en = <0x1>;
		standby-record-reg = <0x07090114>;
		share-irq = "e907";
		//auto-boot;
		status = "okay";
		rproc_wdt: rproc_wdt@0 {
			timeout_ms = <6000>;
			try_times = <3>;
			reset_type = <0x2>;
			status="okay";
		};
	};

	gpio-keys {
		compatible = "gpio-keys";
		status = "okay";

		power {
			label = "Power Button";
			linux,code = <KEY_POWER>;
			debounce-interval = <20>;
			//gpios = <&rtc_pio PW 1 GPIO_ACTIVE_HIGH>;
		};

		volume-up {
			label = "Volume Up";
			linux,code = <KEY_VOLUMEUP>;
			debounce-interval = <20>;
			//gpios = <&rtc_pio PW 2 GPIO_ACTIVE_HIGH>;
		};

		volume-down {
			label = "Volume Down";
			linux,code = <KEY_VOLUMEDOWN>;
			debounce-interval = <20>;
			//gpios = <&rtc_pio PW 3 GPIO_ACTIVE_HIGH>;
		};
	};

	auto_print@54321 {
		reg = <0x0 0x54321 0x0 0x0>;
		device_type = "auto_print";
		status = "okay";
	};

	mailbox_test: mailbox_test@0 {
		compatible = "core0-mailbox-test";
		mboxes = <&msgbox_core0 7>;
		mbox-names = "tx|rx0";
		status = "okay";
	};
};

&spi0 {
	pinctrl-0 = <&spi0_pins_default &spi0_pins_cs &spi0_pins_clk>;
	pinctrl-1 = <&spi0_pins_sleep>;
	pinctrl-names = "default", "sleep";
	sunxi,spi-bus-mode = <SUNXI_SPI_BUS_NAND>;
	sunxi,spi-cs-mode = <SUNXI_SPI_CS_SOFT>;
	status = "okay";

	spi-nand@0 {
			compatible = "spi-nand";
			spi-max-frequency=<100000000>;
			reg = <0x0>;
			spi-rx-bus-width=<0x04>;
			spi-tx-bus-width=<0x04>;
			status="okay";
	};
};

&sdc2 {
	non-removable;
	bus-width = <8>;
	mmc-ddr-1_8v;
	mmc-hs200-1_8v;
	mmc-hs400-1_8v;
	no-sdio;
	no-sd;
	ctl-spec-caps = <0x328>;
	cap-mmc-highspeed;
	sunxi-power-save-mode;
	sunxi-dis-signal-vol-sw;
	mmc-bootpart-noacc;
	/*cap-hsq;*/
	cqe-on;
	ctl-cmdq-md = <0x2>;
	/* b2c-ecc-on; */
	/* cqe-ecc-on; */
	max-frequency = <150000000>;
	/*vmmc-supply = <&reg_cldo3>;*/
	/*emmc io vol 3.3v*/
	/*vqmmc-supply = <&reg_aldo1>;*/
	/*emmc io vol 1.8v*/
	/*vqmmc-supply = <&reg_cldo1>;*/
	status = "disabled";
};

&sdc0 {
	bus-width = <4>;
	cd-gpios = <&pio PF 6 (GPIO_ACTIVE_LOW | GPIO_PULL_UP)>;
	/*non-removable;*/
	/*broken-cd;*/
	/*cd-inverted*/
	/*data3-detect;*/
	/*card-pwr-gpios = <&pio PH 14 1 1 2 0xffffffff>;*/
	cd-used-24M;
	cd-set-debounce = <0x1>;
	cap-sd-highspeed;
	sd-uhs-sdr50;
	sd-uhs-ddr50;
	sd-uhs-sdr104;
	no-sdio;
	no-mmc;
	/* b2c-ecc-on; */
	sunxi-power-save-mode;
	/*sunxi-dis-signal-vol-sw;*/
	sunxi-signal-vol-sw-without-pmu;
	max-frequency = <150000000>;
	ctl-spec-caps = <0x428>;
	/*vmmc-supply = <&reg_cldo3>;*/
	/*vqmmc33sw-supply = <&reg_cldo3>;*/
	/*vdmmc33sw-supply = <&reg_cldo3>;*/
	/*vqmmc18sw-supply = <&reg_aldo4>;*/
	/*vdmmc18sw-supply = <&reg_aldo4>;*/
	status = "okay";
};

&sdc1 {
	bus-width = <4>;
	no-mmc;
	no-sd;
	cap-sd-highspeed;
	/*sd-uhs-sdr12*/
	sd-uhs-sdr25;
	sd-uhs-sdr50;
	sd-uhs-ddr50;
	sd-uhs-sdr104;
	/*sunxi-power-save-mode;*/
	sunxi-dis-signal-vol-sw;
	cap-sdio-irq;
	keep-power-in-suspend;
	ignore-pm-notify;
	max-frequency = <150000000>;
	ctl-spec-caps = <0x428>;
	status = "okay";
};

&spi3 {
	pinctrl-0 = <&spi3_pins_default &spi3_pins_cs>;
	pinctrl-1 = <&spi3_pins_sleep>;
	pinctrl-names = "default", "sleep";
	sunxi,spi-bus-mode = <SUNXI_SPI_BUS_MASTER>;
	sunxi,spi-cs-mode = <SUNXI_SPI_CS_AUTO>;
	status = "disabled";
};

/*
 *usb_port_type: usb mode. 0-device, 1-host, 2-otg.
 *usb_detect_type: usb hotplug detect mode. 0-none, 1-vbus/id detect, 2-id/dpdm detect.
 *usb_detect_mode: 0-thread scan, 1-id gpio interrupt.
 *usb_id_gpio: gpio for id detect.
 *usb_det_vbus_gpio: gpio for id detect. gpio or "axp_ctrl";
 *usb_wakeup_suspend:0-SUPER_STANDBY, 1-USB_STANDBY.
 */
&usbc0 {
	device_type = "usbc0";
	usb_port_type = <0x2>;
	usb_detect_type = <0x1>;
	usb_detect_mode = <0>;
	usb_id_gpio = <&pio PB 11 GPIO_ACTIVE_HIGH>;
	enable-active-high;
	usb_det_vbus_gpio = <&pio PB 12 GPIO_ACTIVE_HIGH>;
	usb_wakeup_suspend = <0>;
	usb_serial_unique = <0>;
	usb_serial_number = "20080411";
	rndis_wceis = <1>;
	status = "okay";
};

&u2phy {
	status = "okay";
};

&udc {
	status = "okay";
};

&ehci0 {
	drvvbus-supply = <&reg_usb0_vbus>;
	status = "okay";
};

&ohci0 {
	drvvbus-supply = <&reg_usb0_vbus>;
	status = "okay";
};

&usbc1 {
	device_type = "usbc1";
	usb_regulator_io = "nocare";
	status = "okay";
};

&ehci1 {
	drvvbus-supply = <&reg_usb1_vbus>;
	status = "okay";
};

&ohci1 {
	drvvbus-supply = <&reg_usb1_vbus>;
	status = "okay";
};

&twi2 {
	clock-frequency = <400000>;
	pinctrl-0 = <&twi2_pins_default>;
	pinctrl-1 = <&twi2_pins_sleep>;
	pinctrl-names = "default", "sleep";
	/* For stability and backwards compatibility, we recommend setting 'twi_drv_used' to 1 */
	twi_drv_used = <1>;
	/* twi-supply = <&reg_cldo3>; */
	status = "disabled";

	pcf8563: rtc@51 {
		compatible = "nxp,pcf8563";
		reg = <0x51>;
	};
};

&twi4 {
	clock-frequency = <400000>;
	pinctrl-0 = <&twi4_pins_default>;
	pinctrl-1 = <&twi4_pins_sleep>;
	pinctrl-names = "default", "sleep";
	/* For stability and backwards compatibility, we recommend setting 'twi_drv_used' to 1 */
	twi_drv_used = <1>;
	no_suspend = <1>;
	/* twi-supply = <&reg_cldo3>; */
	status = "disabled";
};

&pwmcs0_0 {
	pinctrl-names = "active", "sleep";
	pinctrl-0 = <&pwmcs0_0_pins_active>;
	pinctrl-1 = <&pwmcs0_0_pins_sleep>;
	status = "okay";
};

&pwmcs0_4 {
	pinctrl-names = "active", "sleep";
	pinctrl-0 = <&pwmcs0_4_pins_active>;
	pinctrl-1 = <&pwmcs0_4_pins_sleep>;
	status = "okay";
};

&cpu0 {
	cpu-supply = <&reg_vdd_cpu>;
};

&gpadc0 {
	pinctrl-names = "default", "sleep";
	pinctrl-0 = <&gpadc0_pins_default>;
	pinctrl-1 = <&gpadc0_pins_sleep>;
	channel_num = <10>;
	channel_select = <3>;
	channel_data_select = <0>;
	channel_compare_select = <0>;
	channel_cld_select = <3>;
	channel_chd_select = <0>;
	channel0_compare_lowdata = <1700000>;
	channel0_compare_higdata = <1200000>;
	channel1_compare_lowdata = <460000>;
	channel1_compare_higdata = <1200000>;
	status = "disabled";
};

&gpadc1 {
	channel_num = <10>;
	pinctrl-names = "default", "sleep";
	pinctrl-0 = <&gpadc1_pins_default>;
	pinctrl-1 = <&gpadc1_pins_sleep>;
	channel_select = <0x2>;
	channel_data_select = <0>;
	channel_compare_select = <0x2>;
	channel_cld_select = <0x2>;
	channel_chd_select = <0>;
	channel0_compare_lowdata = <1700000>;
	channel0_compare_higdata = <1200000>;
	channel1_compare_lowdata = <900000>;
	channel1_compare_higdata = <0>;
	status = "disabled";
	keyadc1 {
		key_cnt = <5>;
		key0_vol = <210>;
		key0_val = <115>;
		key1_vol = <410>;
		key1_val = <114>;
		key2_vol = <590>;
		key2_val = <139>;
		key3_vol = <750>;
		key3_val = <28>;
		key4_vol = <880>;
		key4_val = <102>;
	};
};

&gpadc2 {
	channel_num = <4>;
	only_used_for_gpadc;
	channel_select = <3>;
	channel_data_select = <0>;
	channel_compare_select = <0>;
	channel_cld_select = <3>;
	channel_chd_select = <0>;
	channel0_compare_lowdata = <1700000>;
	channel0_compare_higdata = <1200000>;
	channel1_compare_lowdata = <460000>;
	channel1_compare_higdata = <1200000>;
	status = "disabled";
};

&gpadc3 {
	channel_num = <2>;
	channel_select = <3>;
	channel_data_select = <0>;
	channel_compare_select = <0>;
	channel_cld_select = <3>;
	channel_chd_select = <0>;
	channel0_compare_lowdata = <1700000>;
	channel0_compare_higdata = <1200000>;
	channel1_compare_lowdata = <460000>;
	channel1_compare_higdata = <1200000>;
	status = "disabled";
};

&rfkill {
	compatible = "allwinner,sunxi-rfkill";
	chip_en;
	power_en;
	pinctrl-0;
	pinctrl-names;
	status = "okay";

	/* wlan session */
	wlan {
		compatible    = "allwinner,sunxi-wlan";
		wlan_busnum   = <0x1>;
		wlan_regon    = <&pio PG 13 GPIO_ACTIVE_HIGH>;
		wlan_hostwake = <&pio PG 11 GPIO_ACTIVE_HIGH>;
		wakeup-source;
		regulator-boot-on;
		regulator-always-on;
	};

	/* bt session */
	bt {
		compatible    = "allwinner,sunxi-bt";
		bt_rst_n      = <&pio PG 12 GPIO_ACTIVE_LOW>;
		status        = "okay";
	};

};

&btlpm {
	compatible  = "allwinner,sunxi-btlpm";
	uart_index  = <0x1>;
	bt_wake     = <&pio PG 14 GPIO_ACTIVE_HIGH>;
	bt_hostwake = <&pio PG 15 GPIO_ACTIVE_HIGH>;
	/* wakeup-source; */
	status      = "okay";
};

&addr_mgt {
	compatible = "allwinner,sunxi-addr_mgt";
	type_addr_wifi = <0x0>;
	type_addr_bt   = <0x0>;
	type_addr_eth  = <0x0>;
	status = "okay";
};

&irrx0 {
	pinctrl-names = "default", "sleep";
	pinctrl-0 = <&irrx0_pins_default>;
	pinctrl-1 = <&irrx0_pins_sleep>;
	status = "okay";
};

&irrx1 {
	pinctrl-names = "default", "sleep";
	pinctrl-0 = <&irrx1_pins_default>;
	pinctrl-1 = <&irrx1_pins_sleep>;
	status = "disabled";
};

&irrx2 {
	pinctrl-names = "default", "sleep";
	pinctrl-0 = <&irrx2_pins_default>;
	pinctrl-1 = <&irrx2_pins_sleep>;
	status = "disabled";
};

&irrx3 {
	pinctrl-names = "default", "sleep";
	pinctrl-0 = <&irrx3_pins_default>;
	pinctrl-1 = <&irrx3_pins_sleep>;
	status = "disabled";
};

&irtx0 {
	pinctrl-names = "default", "sleep";
	pinctrl-0 = <&irtx0_pins_default>;
	pinctrl-1 = <&irtx0_pins_sleep>;
	status = "okay";
};

&ledc  {
	pinctrl-names = "default", "sleep";
	pinctrl-0 = <&ledc_pins_default>;
	pinctrl-1 = <&ledc_pins_sleep>;
	led_count = <32>;
	output_mode = "GRB";
	reset_ns = <84>;
	t1h_ns = <800>;
	t1l_ns = <320>;
	t0h_ns = <300>;
	t0l_ns = <800>;
	wait_time0_ns = <84>;
	wait_time1_ns = <84>;
	wait_data_time_ns = <600000>;
	status = "disabled";
};

/* audio dirver module -> audio codec */
&codec {
	tx-hub-en;

	dac-vol		= <63>;		/* default value:63 range:0->63 */
	dacl-vol	= <160>;	/* default value:160 range:0->255 */
	lineout-gain	= <31>;		/* default value:31 range:0->31 */

	pa-pin-max	= <1>;
	pa-pin-0	= <&pio PB 14 GPIO_ACTIVE_HIGH>;
	pa-pin-level-0	= <1>;
	pa-pin-msleep-0	= <0>;

	status = "okay";
};

&codec_plat {
	status = "okay";
};

&codec_mach {
	status = "okay";
	soundcard-mach,cpu {
		sound-dai = <&codec_plat>;
	};
	soundcard-mach,codec {
		sound-dai = <&codec>;
	};
};

/* audio dirver module -> owa */
&owa_plat {
	/* pinctrl-used; */
	/* pinctrl-names	= "default","sleep"; */
	/* pinctrl-0	= <&owa_pins_a>; */
	/* pinctrl-1	= <&owa_pins_b>; */
	tx-hub-en;

	status		= "disabled";
};

&owa_mach {
	status		= "disabled";
	soundcard-mach,cpu {
		sound-dai = <&owa_plat>;
	};
	soundcard-mach,codec {
	};
};

/* audio dirver module -> DMIC */
&dmic_plat {
	rx-chmap	= <0x76543210>;
	data-vol	= <0xB0>;
	rxdelaytime	= <0>;
	pinctrl-used;
	pinctrl-names	= "default","sleep";
	pinctrl-0	= <&dmic_pins_a>;
	pinctrl-1	= <&dmic_pins_b>;
	rx-sync-en;
	status		= "disabled";
};

&dmic_mach {
	status		= "disabled";
	soundcard-mach,cpu {
		sound-dai = <&dmic_plat>;
	};
	soundcard-mach,codec {
	};
};

/* audio dirver module -> I2S/PCM */
&i2s0_plat {
	tdm-num		= <0>;
	tx-pin		= <0>;
	rx-pin		= <0>;
	/* pinctrl-used; */
	/* pinctrl-names	= "default","sleep"; */
	/* pinctrl-0	= <&i2s0_pins_a &i2s0_pins_c>; */
	/* pinctrl-1	= <&i2s0_pins_b &i2s0_pins_d>; */
	tx-hub-en;
	rx-sync-en;
	status		= "disabled";
};

&i2s0_mach {
	soundcard-mach,format		= "i2s";
	soundcard-mach,frame-master	= <&i2s0_cpu>;
	soundcard-mach,bitclock-master	= <&i2s0_cpu>;
	/* soundcard-mach,frame-inversion; */
	/* soundcard-mach,bitclock-inversion; */
	soundcard-mach,slot-num		= <2>;
	soundcard-mach,slot-width	= <32>;
	soundcard-mach,capture-only;
	status		= "disabled";
	i2s0_cpu: soundcard-mach,cpu {
		sound-dai = <&i2s0_plat>;
		/* note: pll freq = 24.576M or 22.5792M * pll-fs */
		soundcard-mach,pll-fs	= <1>;
		/* note:
		 * mclk freq = mclk-fs * 12.288M or 11.2896M	(when mclk-fp ture)
		 * mclk freq = mclk-fs * pcm rate		(when mclk-fp false)
		 */
		soundcard-mach,mclk-fs	= <1>;
		soundcard-mach,mclk-fp;
	};
	i2s0_codec: soundcard-mach,codec {
		soundcard-mach,pll-fs   = <1>;
	};
};

&i2s1_plat {
	tdm-num		= <1>;
	tx-pin		= <0>;
	rx-pin		= <0>;
	/* pinctrl-used; */
	/* pinctrl-names= "default","sleep"; */
	/* pinctrl-0	= <&i2s1_pins_a &i2s1_pins_b &i2s1_pins_c &i2s1_pins_d>; */
	/* pinctrl-1	= <&i2s1_pins_e>; */
	tx-hub-en;
	rx-sync-en;
	status		= "disabled";
};

&i2s1_mach {
	soundcard-mach,format		= "dsp_a";
	soundcard-mach,frame-master	= <&i2s1_cpu>;
	soundcard-mach,bitclock-master	= <&i2s1_cpu>;
	/* soundcard-mach,frame-inversion; */
	soundcard-mach,bitclock-inversion;
	soundcard-mach,slot-num		= <2>;
	soundcard-mach,slot-width	= <16>;
	status		= "disabled";
	i2s1_cpu: soundcard-mach,cpu {
		sound-dai = <&i2s1_plat>;
		soundcard-mach,pll-fs	= <1>;
		soundcard-mach,mclk-fs	= <0>;
	};
	i2s1_codec: soundcard-mach,codec {
	};
};

&i2s2_plat {
	tdm-num		= <2>;
	tx-pin		= <0 1 2 3>;

	rx-pin		= <0>;
	/* pinctrl-used; */
	/* pinctrl-names= "default","sleep"; */
	/* pinctrl-0	= <&i2s2_pins_a>; */
	/* pinctrl-1	= <&i2s2_pins_b>; */
	tx-hub-en;
	rx-sync-en;
	/* edp not need dai-type */
	status		= "disabled";
};

&i2s2_mach {
	soundcard-mach,format		= "i2s";
	soundcard-mach,frame-master	= <&i2s2_cpu>;
	soundcard-mach,bitclock-master	= <&i2s2_cpu>;
	/* soundcard-mach,frame-inversion; */
	/* soundcard-mach,bitclock-inversion; */
	soundcard-mach,slot-num		= <2>;
	soundcard-mach,slot-width	= <32>;
	status		= "disabled";
	i2s2_cpu: soundcard-mach,cpu {
		sound-dai = <&i2s2_plat>;
		soundcard-mach,pll-fs	= <1>;
		/* edp mclk: 512fs */
		soundcard-mach,mclk-fs	= <0>;
	};
	i2s2_codec: soundcard-mach,codec {

	};
};

&spi2 {
	pinctrl-0 = <&spi2_pins_default &spi2_pins_cs>;
	pinctrl-1 = <&spi2_pins_sleep>;
	pinctrl-names = "default", "sleep";
	sunxi,spi-bus-mode = <SUNXI_SPI_BUS_MASTER>;
	sunxi,spi-cs-mode = <SUNXI_SPI_CS_AUTO>;
	// ready-gpio = <&pio PC 15 GPIO_ACTIVE_LOW>;
	status = "disabled";

	spidev@0 {
		compatible = "rohm,dh2228fv";
		reg = <0x0>;
		spi-max-frequency = <10000000>;
		spi-rx-bus-width = <1>;
		spi-tx-bus-width = <1>;
		status = "disabled";
	};

	aw_spi_lbc@1 {
		compatible = "allwinner, aw-spi-lbc";
		reg = <0x01>;
		spi-lsb-first;
		spi-cs-high;
		spi-cpha;
		spi-max-frequency = <10000000>;
		spi-rx-bus-width = <1>;
		spi-tx-bus-width = <1>;
		status = "disabled";
	};
};

&gmac0_phy0 {
	compatible = "ethernet-phy-id001c.c916";
	reset-gpios = <&pio PE 0 GPIO_ACTIVE_HIGH>;
	/* For RTL8211F: PHY datasheet rst time */
	reset-assert-us = <10000>;
	reset-deassert-us = <30000>;
};

&gmac0 {
	phy-mode = "rgmii";
	pinctrl-names = "default", "sleep";
	pinctrl-0 = <&gmac0_pins_default>;
	pinctrl-1 = <&gmac0_pins_sleep>;
	phy-handle = <&gmac0_phy0>;
	aw,soc-phy-clk-en;
	tx-delay = <9>;
	rx-delay = <6>;
	// dwmac-supply = <&reg_dcdc1>;
	// phy-supply = <&reg_dcdc1>;
	status = "disabled";
};

&gmac1_phy0 {
	compatible = "ethernet-phy-id001c.c916";
	reset-gpios = <&pio PE 9 GPIO_ACTIVE_HIGH>;
	/* For RTL8211F: PHY datasheet rst time */
	reset-assert-us = <10000>;
	reset-deassert-us = <30000>;
};

&gmac1 {
	phy-mode = "rgmii";
	pinctrl-names = "default", "sleep";
	pinctrl-0 = <&gmac1_pins_default>;
	pinctrl-1 = <&gmac1_pins_sleep>;
	phy-handle = <&gmac1_phy0>;
	aw,soc-phy-clk-en;
	tx-delay = <9>;
	rx-delay = <5>;
	// dwmac-supply = <&reg_dcdc1>;
	// phy-supply = <&reg_dcdc1>;
	status = "disabled";
};

&dma {
	reset-control;
};

&dma1 {
       status="disabled";
};

&rtp {
	pinctrl-names = "default", "sleep";
	pinctrl-0 = <&rtp_pins_default>;
	pinctrl-1 = <&rtp_pins_sleep>;
	allwinner,tp-sensitive-adjust = <0xa>;
	allwinner,filter-type = <0x3>;
	status = "disabled";
};


&csi_mclk2_pins_a {
	pins = "PA6";
	function = "ncsi";
	drive-strength = <20>;
};

&csi_mclk2_pins_b {
	pins = "PA6";
	function = "gpio_in";
};

&ncsi_8bit_pins_a {
	pins = 	"PA7", "PA4", "PA5",
		"PA8", "PA9", "PA10", "PA11",
		"PA12", "PA13", "PA14", "PA15";
	function = "ncsi";
	drive-strength = <10>;
};

&ncsi_8bit_pins_b {
	pins = 	"PA7", "PA4", "PA5",
		"PA8", "PA9", "PA10", "PA11",
		"PA12", "PA13", "PA14", "PA15";
	function = "gpio_in";
};

&vind0 {
      csi_top = <300000000>;
      csi_isp = <300000000>;
      vind_mclkpin-supply = <>; /* vcc-pe */
      vind_mclkpin_vol = <1800000>;
      vind_mcsipin-supply = <>;  /* vcc-mcsi */
      vind_mcsipin_vol = <1800000>;
      vind_mipipin-supply = <>;  /* vcc-pk */
      vind_mipipin_vol = <1800000>;
      status = "disabled";

      csi2: csi@5822000 {
              pinctrl-names = "default","sleep";
              pinctrl-0 = <&ncsi_8bit_pins_a>;
              pinctrl-1 = <&ncsi_8bit_pins_b>;
              status = "okay";
      };

      tdm0:tdm@5908000 {
              work_mode = <0>;
              status = "disabled";
      };

      isp00:isp@5900000 {
              work_mode = <0>;
              status = "okay";
      };

      isp01:isp@5902000 {
              status = "disabled";
      };

      isp10:isp@2 {
              status = "okay";
      };

      isp20:isp@3 {
              status = "okay";
      };

      scaler00:scaler@5910000 {
              work_mode = <0>;
              status = "okay";
      };

      scaler01:scaler@590fffc {
              status = "disabled";
      };

      scaler10:scaler@5910400 {
              work_mode = <0>;
              status = "okay";
      };

      scaler11:scaler@59103fc {
              status = "disabled";
      };

      scaler20:scaler@8 {
              work_mode = <0>;
              status = "disabled";
      };

      actuator0: actuator@2108180 {
              device_type = "actuator0";
              actuator0_name = "cn3927_act";
              actuator0_slave = <0x18>;
              actuator0_af_pwdn = <>;
              actuator0_afvdd = "afvcc-csi";
              actuator0_afvdd_vol = <2800000>;
              status = "disabled";
      };

      flash0: flash@2108190 {
              device_type = "flash0";
              flash0_type = <2>;
              flash0_en = <>;
              flash0_mode = <>;
              flash0_flvdd = "";
              flash0_flvdd_vol = <>;
              device_id = <0>;
              status = "disabled";
      };

      sensor0:sensor@5812000 {
              device_type = "sensor0";
              sensor0_mname = "tp2815_mipi";
              sensor0_twi_cci_id = <5>;
              sensor0_twi_addr = <0x88>;
              sensor0_mclk_id = <2>;
              sensor0_pos = "rear";
              sensor0_isp_used = <0>;
              sensor0_fmt = <0>;
              sensor0_stby_mode = <0>;
              sensor0_vflip = <0>;
              sensor0_hflip = <0>;
              sensor0_cameravdd-supply = <>;
              sensor0_cameravdd_vol = <>;
              sensor0_iovdd-supply = <>;
              sensor0_iovdd_vol = <>;
              sensor0_avdd-supply = <>;
              sensor0_avdd_vol = <>;
              sensor0_dvdd-supply = <>;
              sensor0_dvdd_vol = <>;
              sensor0_power_en = <>;
              sensor0_reset = <&pio PK 10 GPIO_ACTIVE_LOW>;
              sensor0_pwdn = <>;
              status = "okay";
      };

      sensor1:sensor@5812010 {
              device_type = "sensor1";
              sensor1_mname = "nvp6158";
              sensor1_twi_cci_id = <5>;
              sensor1_twi_addr = <0x64>;
              sensor1_mclk_id = <2>;
              sensor1_pos = "front";
              sensor1_isp_used = <0>;
              sensor1_fmt = <0>;
              sensor1_stby_mode = <0>;
              sensor1_vflip = <0>;
              sensor1_hflip = <0>;
              sensor1_iovdd-supply = <>;
              sensor1_iovdd_vol = <>;
              sensor1_avdd-supply = <>;
              sensor1_avdd_vol = <>;
              sensor1_dvdd-supply = <>;
              sensor1_dvdd_vol = <>;
              sensor1_power_en = <>;
              sensor1_reset = <&pio PG 13 GPIO_ACTIVE_LOW>;
              sensor1_pwdn = <>;
              status = "okay";
      };

      sensor_list0:sensor_list@200b820 {
              sensor00_mname = "gc5035_mipi";
              sensor00_twi_addr = <0x6c>;
              sensor00_type = <1>;
              sensor00_hflip =  <0>;
              sensor00_vflip = <0>;
              sensor00_act_used = <1>;
              sensor00_act_name = "dw9714_act";
              sensor00_act_twi_addr = <0x18>;
              sensor01_mname = "ov5675_mipi";
              sensor01_twi_addr = <0x6c>;
              sensor01_type = <1>;
              sensor01_hflip =  <0>;
              sensor01_vflip = <0>;
              sensor01_act_used = <1>;
              sensor01_act_name = "dw9714_act";
              sensor01_act_twi_addr = <0x18>;
              sensor02_mname = "sp5409_mipi";
              sensor02_twi_addr = <0x78>;
              sensor02_type = <1>;
              sensor02_hflip =  <0>;
              sensor02_vflip = <0>;
              sensor02_act_used = <1>;
              sensor02_act_name = "dw9714_act";
              sensor02_act_twi_addr = <0x18>;
              status  = "disabled";
      };

      sensor_list1:sensor_list@200b830 {
              sensor10_mname = "gc02m2_mipi";
              sensor10_twi_addr = <0x20>;
              sensor10_type = <1>;
              sensor10_hflip =  <0>;
              sensor10_vflip = <0>;
              sensor10_act_used = <0>;
              sensor10_act_name = "";
              sensor10_act_twi_addr = <>;
              sensor11_mname = "ov02a10_mipi";
              sensor11_twi_addr = <0x7a>;
              sensor11_type = <1>;
              sensor11_hflip =  <1>;
              sensor11_vflip = <0>;
              sensor11_act_used = <0>;
              sensor11_act_name = "";
              sensor11_act_twi_addr = <>;
              sensor12_mname = "gc030a_mipi";
              sensor12_twi_addr = <0x42>;
              sensor12_type = <1>;
              sensor12_hflip =  <0>;
              sensor12_vflip = <0>;
              sensor12_act_used = <0>;
              sensor12_act_name = "";
              sensor12_act_twi_addr = <>;
              status  = "disabled";
      };

      vinc00:vinc@5830000 {
              vinc0_csi_sel = <0>;
              vinc0_mipi_sel = <0>;
              vinc0_isp_sel = <2>;
              vinc0_isp_tx_ch = <0>;
              vinc0_tdm_rx_sel = <0>;
              vinc0_rear_sensor_sel = <0>;
              vinc0_front_sensor_sel = <0>;
              vinc0_sensor_list = <0>;
              device_id = <0>;
              work_mode = <0x0>;
              status = "okay";
      };

      vinc01:vinc@582fffc {
              vinc1_csi_sel = <1>;
              vinc1_mipi_sel = <1>;
              vinc1_isp_sel = <1>;
              vinc1_isp_tx_ch = <0>;
              vinc1_tdm_rx_sel = <1>;
              vinc1_rear_sensor_sel = <1>;
              vinc1_front_sensor_sel = <1>;
              vinc1_sensor_list = <0>;
              device_id = <1>;
              status = "disabled";
      };

      vinc10:vinc@5831000 {
              vinc4_csi_sel = <2>;
              vinc4_mipi_sel = <0xff>;
              vinc4_isp_sel = <2>;
              vinc4_isp_tx_ch = <0>;
              vinc4_tdm_rx_sel = <0>;
              vinc4_rear_sensor_sel = <1>;
              vinc4_front_sensor_sel = <1>;
              vinc4_sensor_list = <0>;
              device_id = <4>;
              work_mode = <0x0>;
              status = "okay";
      };

      vinc11:vinc@5830ffc {
              vinc5_csi_sel = <1>;
              vinc5_mipi_sel = <1>;
              vinc5_isp_sel = <1>;
              vinc5_isp_tx_ch = <0>;
              vinc5_tdm_rx_sel = <1>;
              vinc5_rear_sensor_sel = <1>;
              vinc5_front_sensor_sel = <1>;
              vinc5_sensor_list = <0>;
              device_id = <5>;
              status = "disabled";
      };

      vinc20:vinc@5832000 {
              vinc8_csi_sel = <2>;
              vinc8_mipi_sel = <0xff>;
              vinc8_isp_sel = <2>;
              vinc8_isp_tx_ch = <0>;
              vinc8_tdm_rx_sel = <0>;
              vinc8_rear_sensor_sel = <1>;
              vinc8_front_sensor_sel = <1>;
              vinc8_sensor_list = <0>;
              device_id = <8>;
              work_mode = <0x0>;
              status = "disabled";
      };
};
